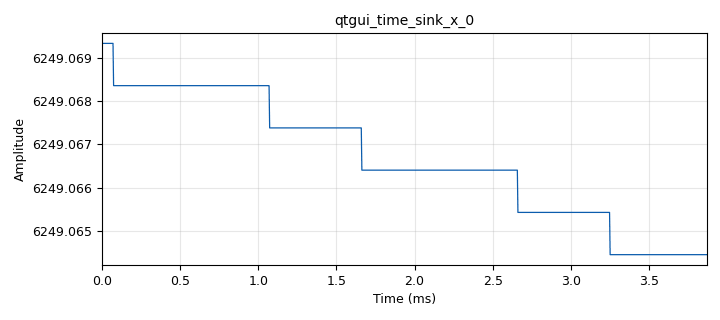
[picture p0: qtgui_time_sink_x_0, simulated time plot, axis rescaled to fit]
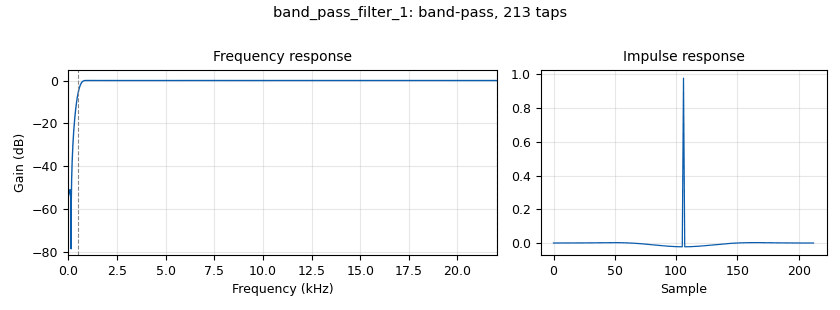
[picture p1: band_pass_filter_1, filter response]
options:
  parameters:
    author: Abraxas3d
    description: Chirp Transmitter for PLB
    generate_options: qt_gui
    id: top_block
    output_language: python
    title: Chirp Transmitter
  states: {}

blocks:
- name: carrier
  id: variable
  parameters:
    value: '100000'
  states: {}
- name: doppler
  id: variable_function_probe
  parameters:
    block_id: dd
    function_name: level
    poll_rate: '1000'
    value: '0'
  states: {}
- name: doppler
  id: variable
  parameters:
    value: '0'
  states: {state: disabled}
- name: interpolation_factor
  id: variable
  parameters:
    value: '6'
  states: {}
- name: interpolation_rate
  id: variable
  parameters:
    value: interpolation_factor*samp_rate
  states: {}
- name: pi
  id: variable
  parameters:
    value: '3.14159'
  states: {}
- name: samp_rate
  id: variable
  parameters:
    value: '44100'
  states: {}
- name: analog_agc_xx_0
  id: analog_agc_xx
  parameters:
    gain: '1.0'
    max_gain: '65536'
    rate: '625e-6'
    reference: '1.0'
    type: complex
  states: {}
- name: analog_sig_source_x_0
  id: analog_sig_source_x
  parameters:
    amp: '.5'
    freq: carrier+doppler
    offset: '0'
    phase: '0'
    samp_rate: interpolation_rate
    type: float
    waveform: analog.GR_COS_WAVE
  states: {}
- name: analog_sig_source_x_3
  id: analog_sig_source_x
  parameters:
    amp: '7500'
    freq: '.0005'
    offset: '-3750'
    phase: '0'
    samp_rate: interpolation_rate
    type: float
    waveform: analog.GR_TRI_WAVE
  states: {}
- name: analog_sig_source_x_3_0
  id: analog_sig_source_x
  parameters:
    amp: '5000'
    freq: '.0004'
    offset: '0'
    phase: '0'
    samp_rate: interpolation_rate
    type: float
    waveform: analog.GR_COS_WAVE
  states: {}
- name: analog_sig_source_x_3_0_0
  id: analog_sig_source_x
  parameters:
    amp: '5000'
    freq: '.0006'
    offset: '-2500'
    phase: '0'
    samp_rate: interpolation_rate
    type: float
    waveform: analog.GR_SQR_WAVE
  states: {}
- name: audio_sink_0
  id: audio_sink
  parameters:
    samp_rate: samp_rate
  states: {}
- name: audio_sink_1
  id: audio_sink
  parameters:
    samp_rate: samp_rate
  states: {state: disabled}
- name: band_pass_filter_0
  id: band_pass_filter
  parameters:
    decim: '1'
    gain: '1'
    high_cutoff_freq: carrier+doppler + samp_rate/2
    low_cutoff_freq: carrier+doppler - samp_rate/2
    samp_rate: interpolation_rate
    type: fir_filter_fff
    width: '400'
    win: firdes.WIN_HAMMING
  states: {}
- name: band_pass_filter_1
  id: band_pass_filter
  parameters:
    decim: '1'
    gain: '1'
    high_cutoff_freq: (samp_rate/2)
    low_cutoff_freq: '500'
    samp_rate: samp_rate
    type: fir_filter_fff
    width: '500'
    win: firdes.WIN_HAMMING
  states: {}
- name: blocks_add_const_vxx_0
  id: blocks_add_const_vxx
  parameters:
    const: '1'
    type: float
  states: {}
- name: blocks_add_xx_0
  id: blocks_add_xx
  parameters:
    num_inputs: '3'
    type: float
  states: {}
- name: blocks_complex_to_mag_0
  id: blocks_complex_to_mag
  parameters: {}
  states: {}
- name: blocks_multiply_const_vxx_0
  id: blocks_multiply_const_vxx
  parameters:
    const: '1.1'
    type: float
  states: {}
- name: blocks_multiply_const_vxx_1
  id: blocks_multiply_const_vxx
  parameters:
    const: '.35'
    type: float
  states: {}
- name: blocks_multiply_xx_0_0
  id: blocks_multiply_xx
  parameters:
    type: float
  states: {}
- name: blocks_repeat_0
  id: blocks_repeat
  parameters:
    interp: interpolation_factor
    type: float
  states: {}
- name: blocks_repeat_1
  id: blocks_repeat
  parameters:
    interp: interpolation_factor
    type: float
  states: {}
- name: blocks_wavfile_sink_0
  id: blocks_wavfile_sink
  parameters:
    bits_per_sample: '16'
    file: /home/abraxas3d/Documents/Deviations/No_Whales_Captured_3
    samp_rate: samp_rate
  states: {}
- name: blocks_wavfile_source_0
  id: blocks_wavfile_source
  parameters:
    file: /home/abraxas3d/wavesplitter-master/we.wav
    repeat: 'False'
  states: {}
- name: dd
  id: blocks_probe_signal_x
  parameters:
    type: float
  states: {}
- name: freq_xlating_fir_filter_xxx_0
  id: freq_xlating_fir_filter_xxx
  parameters:
    center_freq: carrier+doppler
    decim: interpolation_factor
    samp_rate: interpolation_rate
    taps: firdes.low_pass(1,interpolation_rate, samp_rate/2, 500)
    type: fcf
  states: {}
- name: qtgui_freq_sink_x_0
  id: qtgui_freq_sink_x
  parameters:
    bw: interpolation_rate
    ctrlpanel: 'True'
    fc: '0'
    fftsize: '1024'
    name: On Air
    type: float
    wintype: firdes.WIN_BLACKMAN_hARRIS
  states: {state: disabled}
- name: qtgui_freq_sink_x_1
  id: qtgui_freq_sink_x
  parameters:
    bw: samp_rate
    fc: '0'
    fftsize: '1024'
    type: float
    wintype: firdes.WIN_BLACKMAN_hARRIS
  states: {state: disabled}
- name: qtgui_time_sink_x_0
  id: qtgui_time_sink_x
  parameters:
    size: '1024'
    srate: interpolation_rate
    type: float
    ymax: '10000'
    ymin: '-10000'
  states: {}
- name: qtgui_waterfall_sink_x_0
  id: qtgui_waterfall_sink_x
  parameters:
    bw: samp_rate
    fc: '0'
    fftsize: '1024'
    type: float
    wintype: firdes.WIN_BLACKMAN_hARRIS
  states: {}
- name: virtual_sink_0
  id: virtual_sink
  parameters:
    stream_id: on_air
  states: {}
- name: virtual_source_0
  id: virtual_source
  parameters:
    stream_id: on_air
  states: {}

connections:
- [analog_agc_xx_0, '0', blocks_complex_to_mag_0, '0']
- [analog_sig_source_x_0, '0', blocks_multiply_xx_0_0, '1']
- [analog_sig_source_x_3, '0', blocks_add_xx_0, '0']
- [analog_sig_source_x_3_0, '0', blocks_add_xx_0, '1']
- [analog_sig_source_x_3_0_0, '0', blocks_add_xx_0, '2']
- [band_pass_filter_0, '0', blocks_wavfile_sink_0, '0']
- [band_pass_filter_0, '0', qtgui_freq_sink_x_0, '0']
- [band_pass_filter_0, '0', qtgui_waterfall_sink_x_0, '0']
- [band_pass_filter_0, '0', virtual_sink_0, '0']
- [band_pass_filter_1, '0', blocks_multiply_const_vxx_1, '0']
- [blocks_add_const_vxx_0, '0', blocks_multiply_xx_0_0, '0']
- [blocks_add_xx_0, '0', blocks_repeat_1, '0']
- [blocks_complex_to_mag_0, '0', band_pass_filter_1, '0']
- [blocks_multiply_const_vxx_0, '0', blocks_add_const_vxx_0, '0']
- [blocks_multiply_const_vxx_1, '0', audio_sink_0, '0']
- [blocks_multiply_const_vxx_1, '0', qtgui_freq_sink_x_1, '0']
- [blocks_multiply_xx_0_0, '0', band_pass_filter_0, '0']
- [blocks_repeat_0, '0', blocks_multiply_const_vxx_0, '0']
- [blocks_repeat_1, '0', dd, '0']
- [blocks_repeat_1, '0', qtgui_time_sink_x_0, '0']
- [blocks_wavfile_source_0, '0', audio_sink_1, '0']
- [blocks_wavfile_source_0, '0', blocks_repeat_0, '0']
- [freq_xlating_fir_filter_xxx_0, '0', analog_agc_xx_0, '0']
- [virtual_source_0, '0', freq_xlating_fir_filter_xxx_0, '0']

metadata:
  file_format: 1
